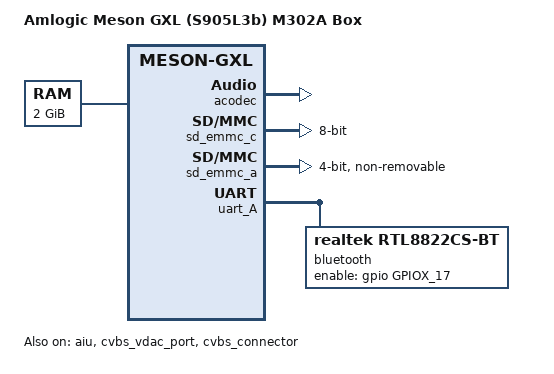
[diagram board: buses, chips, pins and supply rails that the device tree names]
// SPDX-License-Identifier: (GPL-2.0+ OR MIT)

/dts-v1/;

#include "meson-gxl-s905w-p281.dts"

/ {
    compatible = "amlogic,m302a", "amlogic,s905w", "amlogic,meson-gxl";
    model = "Amlogic Meson GXL (S905L3b) M302A Box";

    memory@0 {
        device_type = "memory";
        reg = <0x0 0x0 0x0 0x80000000>;
    };
};

/* ===================== */
/* ✅ 只修正 AV 格式（关键） */
/* ===================== */
&sound {
    /* ⚠️ 只改这里，不动结构 */
    dai-link-2 {
        dai-format = "left_j";
    };
};

/* ===================== */
/* 必须启用的音频硬件     */
/* ===================== */
&aiu {
    status = "okay";
};

&acodec {
    status = "okay";
};

/* ===================== */
/* CVBS（AV输出）         */
/* ===================== */
&cvbs_vdac_port {
    status = "okay";
};

&cvbs_connector {
    status = "okay";
};

/* ===================== */
/* GPU 修正              */
/* ===================== */
&mali {
    interrupts = <GIC_SPI 160 IRQ_TYPE_LEVEL_HIGH>,
                 <GIC_SPI 161 IRQ_TYPE_LEVEL_HIGH>,
                 <GIC_SPI 162 IRQ_TYPE_LEVEL_HIGH>,
                 <GIC_SPI 163 IRQ_TYPE_LEVEL_HIGH>,
                 <GIC_SPI 164 IRQ_TYPE_LEVEL_HIGH>,
                 <GIC_SPI 165 IRQ_TYPE_LEVEL_HIGH>,
                 <GIC_SPI 166 IRQ_TYPE_LEVEL_HIGH>,
                 <GIC_SPI 167 IRQ_TYPE_LEVEL_HIGH>;

    interrupt-names = "gp", "gpmmu", "pp", "pmu",
                      "pp0", "ppmmu0", "pp1", "ppmmu1";
};

/* ===================== */
/* eMMC                 */
/* ===================== */
&sd_emmc_c {
    status = "okay";
    bus-width = <8>;
    cap-mmc-highspeed;
    mmc-ddr-1_8v;
    mmc-hs200-1_8v;
    max-frequency = <200000000>;
};

/* ===================== */
/* WiFi（SDIO）          */
/* ===================== */
&sd_emmc_a {
    status = "okay";

    bus-width = <4>;
    cap-sd-highspeed;
    max-frequency = <50000000>;
    non-removable;
    disable-wp;
};

/* ===================== */
/* 网络限制              */
/* ===================== */
&internal_phy {
    max-speed = <100>;
};

/* ===================== */
/* 蓝牙（可选）           */
/* ===================== */
&uart_A {
    status = "okay";

    pinctrl-0 = <&uart_a_pins>, <&uart_a_cts_rts_pins>;
    pinctrl-names = "default";
    uart-has-rtscts;

    bluetooth {
        compatible = "realtek,rtl8822cs-bt";

        enable-gpios = <&gpio GPIOX_17 GPIO_ACTIVE_HIGH>;

        interrupt-parent = <&gpio_intc>;
        interrupts = <18 IRQ_TYPE_LEVEL_HIGH>;
        interrupt-names = "host-wakeup";

        max-speed = <1500000>;
    };
};
